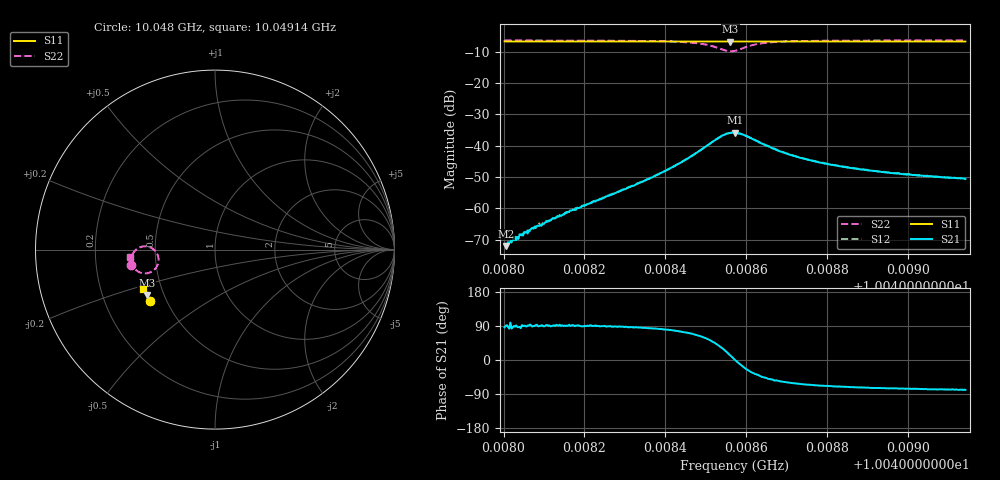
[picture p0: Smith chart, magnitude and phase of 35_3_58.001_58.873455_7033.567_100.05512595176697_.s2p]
#  HZ  S  RI  R  50.00
! Rohde & Schwarz Vector Network Analyzer
! Rohde-Schwarz,ZNB20-2Port,1311601062101988,3.16
! Created: UTC 3/21/2024, 12:51:51 AM
! freq[Hz]  re:S11  im:S11  re:S21  im:S21  re:S12  im:S12  re:S22  im:S22
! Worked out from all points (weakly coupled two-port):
!   401 points, 10.048 GHz to 10.04914 GHz, reference 50 ohm
!   highest |S21| = -35.83 dB at 10.04857 GHz (marker M1); lowest = -72.0 dB at 10.04801 GHz (marker M2)
!   lowest |S11| = -6.8 dB at 10.04856 GHz (marker M3), VSWR 2.68, Z = 20.1 - j12.8 ohm
!   |S11| at or under -10 dB: nowhere
!   |S22| runs from -9.9 to -6.5 dB; largest |S21 - S12| = 0.0012
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1.0048003e10  -0.3611 -0.2842  1.74e-05 0.000263  4.89e-06 0.00028  -0.4664 -0.0846
1.0048005e10  -0.3612 -0.2841  -1.08e-06 0.000252  -1.06e-05 0.000249  -0.4667 -0.0844
1.0048034e10  -0.3623 -0.2825  1.86e-05 0.000348  -9.97e-06 0.000349  -0.4668 -0.0817
1.0048057e10  -0.3632 -0.2813  1.15e-05 0.000422  -4.6e-05 0.000415  -0.4669 -0.0795
1.0048077e10  -0.3639 -0.2803  3.21e-06 0.000505  -3.77e-05 0.00051  -0.4671 -0.0775
1.0048102e10  -0.3651 -0.2789  4.93e-06 0.000594  -3.83e-05 0.000592  -0.4673 -0.0748
1.0048159e10  -0.3672 -0.2758  -6.15e-06 0.000884  -6.88e-05 0.000874  -0.4673 -0.0683
1.0048194e10  -0.3685 -0.2739  2.5e-05 0.00107  -3.8e-05 0.00109  -0.4673 -0.0643
1.0048325e10  -0.3734 -0.2666  0.00017 0.00234  3.65e-05 0.00241  -0.4649 -0.0434
1.0048385e10  -0.3757 -0.2631  0.000503 0.00348  0.00031 0.00353  -0.4602 -0.029
1.0048453e10  -0.3781 -0.2591  0.00184 0.00578  0.00154 0.00593  -0.444 -0.00435
1.0048516e10  -0.3798 -0.2551  0.0074 0.00859  0.00684 0.00906  -0.3865 0.0182
1.0048544e10  -0.3801 -0.2537  0.0129 0.00703  0.0124 0.00786  -0.336 -0.00442
1.0048561e10  -0.3804 -0.2528  0.0156 0.00319  0.0154 0.00423  -0.3158 -0.0427
1.0048573e10  -0.3806 -0.2526  0.0162 7.05e-05  0.016 0.00123  -0.3161 -0.0728
1.0048604e10  -0.3819 -0.2516  0.0125 -0.00622  0.0128 -0.00534  -0.3592 -0.1264
1.0048644e10  -0.3839 -0.2497  0.00732 -0.00746  0.00784 -0.00706  -0.4121 -0.1295
1.0048701e10  -0.3862 -0.2463  0.00382 -0.00637  0.00429 -0.00618  -0.4447 -0.1102
1.0048764e10  -0.3885 -0.2426  0.00235 -0.00521  0.00268 -0.00514  -0.458 -0.0928
1.0048847e10  -0.3915 -0.2378  0.00151 -0.00429  0.00178 -0.00426  -0.4654 -0.0768
1.0048955e10  -0.395 -0.2315  0.000962 -0.00356  0.00119 -0.00353  -0.4695 -0.0618
1.0049143e10  -0.401 -0.2205  0.000574 -0.00288  0.000768 -0.00289  -0.4728 -0.0423
